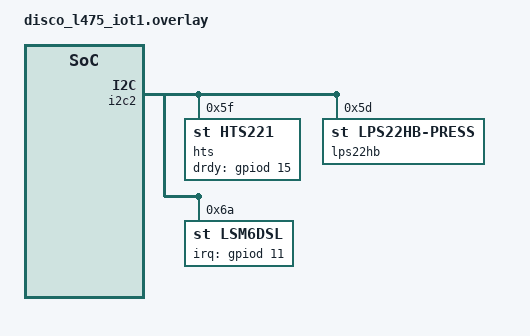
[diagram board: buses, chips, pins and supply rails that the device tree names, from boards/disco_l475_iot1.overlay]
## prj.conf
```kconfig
CONFIG_I2C=y
CONFIG_SENSOR=y
CONFIG_CBPRINTF_FP_SUPPORT=y
CONFIG_LOG=y
CONFIG_SHELL=y

CONFIG_FLASH=y
CONFIG_FLASH_MAP=y
CONFIG_FILE_SYSTEM=y
CONFIG_FILE_SYSTEM_LITTLEFS=y
CONFIG_FILE_SYSTEM_SHELL=y

CONFIG_STDOUT_CONSOLE=y
CONFIG_SENSOR=y





# Threading
CONFIG_MAIN_STACK_SIZE=2048
CONFIG_SYSTEM_WORKQUEUE_STACK_SIZE=2048
```

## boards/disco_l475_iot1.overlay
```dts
/ {
    aliases {
        ht-sensor = &hts;
        pressure-sensor = &lps22hb;
        imu-sensor = &lsm6dsl;
    };
};

&i2c2 {
    hts: hts221@5f {
        compatible = "st,hts221";
        reg = <0x5f>;
        drdy-gpios = <&gpiod 15 GPIO_ACTIVE_HIGH>;
    };

    lps22hb: lps22hb-press@5d {
        compatible = "st,lps22hb-press";
        reg = <0x5d>;
    };

    lsm6dsl: lsm6dsl@6a {
        compatible = "st,lsm6dsl";
        reg = <0x6a>;
        irq-gpios = <&gpiod 11 GPIO_ACTIVE_HIGH>;
    };
};

&flash0 {
    partitions {
        compatible = "fixed-partitions";
        #address-cells = <1>;
        #size-cells = <1>;

        firmware_partition: partition@0 {
            label = "firmware";
            reg = <0x00000000 DT_SIZE_K(896)>;
        };

        logs_fs: partition@e0000 {
            label = "logs_lfs";
            reg = <0x000E0000 DT_SIZE_K(128)>;
        };
    };
};
```

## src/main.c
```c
#include <zephyr/kernel.h>
#include <zephyr/fs/fs.h>
#include <zephyr/fs/littlefs.h>
#include <zephyr/storage/flash_map.h>
#include <zephyr/logging/log.h>
#include <zephyr/device.h>
#include <zephyr/drivers/sensor.h>
#include <string.h>
#include <zephyr/shell/shell.h>

#include "sensors_common.h"
#include "hum_temp_sensor.h"
#include "pressure_sensor.h"
#include "imu_sensor.h"

/* -------- Logging -------- */
LOG_MODULE_REGISTER(app, LOG_LEVEL_INF);

/* Mount point & partition */
static int littlefs_mount(void);
static int log_open(void);
static int log_write_snapshot(const struct all_sensors_data *d);

/* Avoid symbol clash with littlefs function lfs_mount() */
static struct fs_mount_t lfs_mnt;

/* LittleFS backing storage descriptor */
static struct fs_file_t log_file;

#define LOG_MOUNT_POINT   "/lfs"
#define LOG_FILE_PATH     LOG_MOUNT_POINT "/sensor_log.bin"

/* Circular logging parameters */
#define LOG_HEADER_MAGIC  0x53454E31u /* 'SEN1' */
struct log_header {
    uint32_t magic;
    uint32_t write_off; /* offset within payload area (not counting header) */
};

/* Upper bound for file payload; keep conservative inside 128KB partition */
#define LOG_PAYLOAD_MAX   (64 * 1024) /* 64KB for payload */
#define LOG_HEADER_SIZE   (sizeof(struct log_header))

/* -------- IPC: message queue -------- */
K_MSGQ_DEFINE(sensor_q, sizeof(struct all_sensors_data), 32, 4);

/* Shared latest snapshot guarded by mutex */
static struct all_sensors_data g_last;
static struct k_mutex g_last_lock;

/* -------- Threads & stacks -------- */
#define STACK_SZ 2048
K_THREAD_STACK_DEFINE(ht_stack,    STACK_SZ);
K_THREAD_STACK_DEFINE(press_stack, STACK_SZ);
K_THREAD_STACK_DEFINE(imu_stack,   STACK_SZ);
K_THREAD_STACK_DEFINE(log_stack,   STACK_SZ);

static struct k_thread ht_thread_data;
static struct k_thread press_thread_data;
static struct k_thread imu_thread_data;
static struct k_thread log_thread_data;

/* -------- Sensor producer threads -------- */
static void ht_thread(void *, void *, void *)
{
    (void)hum_temp_sensor_init();
    while (1) {
        int16_t t=0, h=0;
        if (hum_temp_sensor_fetch(&t, &h) == 0) {
            struct all_sensors_data snap;

            k_mutex_lock(&g_last_lock, K_FOREVER);
            /* start from last, update our fields */
            snap = g_last;
            snap.ht.temperature = t;
            snap.ht.humidity    = h;
            g_last = snap;
            k_mutex_unlock(&g_last_lock);

            /* try to queue; if full, drop oldest then put */
            if (k_msgq_put(&sensor_q, &snap, K_NO_WAIT) != 0) {
                struct all_sensors_data trash;
                k_msgq_get(&sensor_q, &trash, K_NO_WAIT);
                k_msgq_put(&sensor_q, &snap, K_NO_WAIT);
            }

            /* minimal UART prints (constant strings only) */
            printk("HT T=");
            printk("%d", (int)snap.ht.temperature);
            printk(" H=");
            printk("%d\n", (int)snap.ht.humidity);
        }
        k_sleep(K_MSEC(500));
    }
}

static void press_thread(void *, void *, void *)
{
    (void)pressure_sensor_init();
    while (1) {
        int32_t p=0;
        if (pressure_sensor_fetch(&p) == 0) {
            struct all_sensors_data snap;

            k_mutex_lock(&g_last_lock, K_FOREVER);
            snap = g_last;
            snap.press.pressure = p;
            g_last = snap;
            k_mutex_unlock(&g_last_lock);

            if (k_msgq_put(&sensor_q, &snap, K_NO_WAIT) != 0) {
                struct all_sensors_data trash;
                k_msgq_get(&sensor_q, &trash, K_NO_WAIT);
                k_msgq_put(&sensor_q, &snap, K_NO_WAIT);
            }

            printk("P ");
            printk("%d\n", (int)snap.press.pressure);
        }
        k_sleep(K_MSEC(500));
    }
}

static void imu_thread(void *, void *, void *)
{
    (void)imu_sensor_init();
    while (1) {
        int16_t ax=0, ay=0, az=0, gx=0, gy=0, gz=0;
        if (imu_sensor_fetch(&ax, &ay, &az, &gx, &gy, &gz) == 0) {
            struct all_sensors_data snap;

            k_mutex_lock(&g_last_lock, K_FOREVER);
            snap = g_last;
            snap.imu.accel.x = ax;
            snap.imu.accel.y = ay;
            snap.imu.accel.z = az;
            snap.imu.gyro.x  = gx;
            snap.imu.gyro.y  = gy;
            snap.imu.gyro.z  = gz;
            g_last = snap;
            k_mutex_unlock(&g_last_lock);

            if (k_msgq_put(&sensor_q, &snap, K_NO_WAIT) != 0) {
                struct all_sensors_data trash;
                k_msgq_get(&sensor_q, &trash, K_NO_WAIT);
                k_msgq_put(&sensor_q, &snap, K_NO_WAIT);
            }

            printk("IMU A:");
            printk("%d", (int)snap.imu.accel.x); printk(",");
            printk("%d", (int)snap.imu.accel.y); printk(",");
            printk("%d", (int)snap.imu.accel.z); printk(" G:");
            printk("%d", (int)snap.imu.gyro.x);  printk(",");
            printk("%d", (int)snap.imu.gyro.y);  printk(",");
            printk("%d\n", (int)snap.imu.gyro.z);
        }
        k_sleep(K_MSEC(500));
    }
}

/* -------- Logger consumer thread -------- */
static void log_thread(void *, void *, void *)
{
    if (littlefs_mount() != 0) {
        LOG_ERR("FS mount failed");
        return;
    }
    if (log_open() != 0) {
        LOG_ERR("Open log failed");
        return;
    }

    while (1) {
        struct all_sensors_data d;
        if (k_msgq_get(&sensor_q, &d, K_FOREVER) == 0) {
            int rc = log_write_snapshot(&d);
            if (rc) {
                LOG_ERR("log write err %d", rc);
                /* backoff a bit on error */
                k_sleep(K_MSEC(1000));
            }
        }
    }
}

/* -------- LittleFS helpers -------- */
static int littlefs_mount(void)
{
    /* Storage device: use the fixed partition from DTS */
    static struct fs_littlefs lfs_data;

    lfs_mnt.type = FS_LITTLEFS;
    lfs_mnt.fs_data = &lfs_data;
    lfs_mnt.storage_dev = (void *)FIXED_PARTITION_ID(logs_fs);
    lfs_mnt.mnt_point = LOG_MOUNT_POINT;

    int rc = fs_mount(&lfs_mnt);
    if (rc == 0) {
        LOG_INF("Mounted at %s", LOG_MOUNT_POINT);
    }
    return rc;
}

static int read_header(struct log_header *hdr)
{
    int rc = fs_seek(&log_file, 0, FS_SEEK_SET);
    if (rc) return rc;

    ssize_t r = fs_read(&log_file, hdr, sizeof(*hdr));
    if (r < 0) return (int)r;
    if (r != sizeof(*hdr)) return -EIO;

    if (hdr->magic != LOG_HEADER_MAGIC) return -EINVAL;
    if (hdr->write_off >= LOG_PAYLOAD_MAX) return -EINVAL;
    return 0;
}

static int write_header(const struct log_header *hdr)
{
    int rc = fs_seek(&log_file, 0, FS_SEEK_SET);
    if (rc) return rc;
    ssize_t w = fs_write(&log_file, hdr, sizeof(*hdr));
    return (w == sizeof(*hdr)) ? 0 : -EIO;
}

static int log_open(void)
{
    fs_file_t_init(&log_file);
    int rc = fs_open(&log_file, LOG_FILE_PATH, FS_O_CREATE | FS_O_RDWR);
    if (rc) return rc;

    struct log_header hdr;
    rc = read_header(&hdr);
    if (rc) {
        /* initialize */
        hdr.magic = LOG_HEADER_MAGIC;
        hdr.write_off = 0;

        /* Preallocate payload area with 0xFF */
        rc = fs_seek(&log_file, LOG_HEADER_SIZE, FS_SEEK_SET);
        if (rc) return rc;

        uint8_t buf[64];
        memset(buf, 0xFF, sizeof(buf));
        size_t total = 0;
        while (total < LOG_PAYLOAD_MAX) {
            size_t chunk = MIN(sizeof(buf), LOG_PAYLOAD_MAX - total);
            ssize_t w = fs_write(&log_file, buf, chunk);
            if (w != chunk) return -EIO;
            total += w;
        }

        /* write header at start */
        rc = write_header(&hdr);
        if (rc) return rc;
    }
    return 0;
}


static int log_write_snapshot(const struct all_sensors_data *d)
{
    struct log_header hdr;
    int rc = read_header(&hdr);
    if (rc) return rc;

    /* Where to write: header + write_off */
    off_t pos = LOG_HEADER_SIZE + hdr.write_off;

    rc = fs_seek(&log_file, pos, FS_SEEK_SET);
    if (rc) return rc;

    ssize_t w = fs_write(&log_file, d, sizeof(*d));
    if (w != sizeof(*d)) return -EIO;

    /* advance write_off with wrap */
    uint32_t next = hdr.write_off + sizeof(*d);
    if (next + sizeof(*d) > LOG_PAYLOAD_MAX) {
        next = 0; /* wrap to start of payload */
    }
    hdr.write_off = next;

    return write_header(&hdr);
}
static int cmd_clear_logs(const struct shell *shell, size_t argc, char **argv)
{
    ARG_UNUSED(argc);
    ARG_UNUSED(argv);

    int ret = fs_unlink(LOG_FILE_PATH);
    if (ret == -ENOENT) {
        shell_print(shell, "No log file to delete.");
    } else if (ret) {
        shell_error(shell, "Failed to delete log file (%d)", ret);
        return ret;
    } else {
        shell_print(shell, "Log file deleted.");
    }
    return 0;
}

SHELL_CMD_REGISTER(clear_logs, NULL, "Delete sensor_log.bin file", cmd_clear_logs);
/* -------- main -------- */
void main(void)
{
    k_mutex_init(&g_last_lock);
    memset(&g_last, 0, sizeof(g_last));

    /* Start producers */
    k_thread_create(&ht_thread_data, ht_stack, K_THREAD_STACK_SIZEOF(ht_stack),
                    ht_thread, NULL, NULL, NULL, 5, 0, K_NO_WAIT);

    k_thread_create(&press_thread_data, press_stack, K_THREAD_STACK_SIZEOF(press_stack),
                    press_thread, NULL, NULL, NULL, 5, 0, K_NO_WAIT);

    k_thread_create(&imu_thread_data, imu_stack, K_THREAD_STACK_SIZEOF(imu_stack),
                    imu_thread, NULL, NULL, NULL, 5, 0, K_NO_WAIT);

    /* Start logger */
    k_thread_create(&log_thread_data, log_stack, K_THREAD_STACK_SIZEOF(log_stack),
                    log_thread, NULL, NULL, NULL, 6, 0, K_NO_WAIT);
}
```

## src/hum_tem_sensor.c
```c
#include "hum_temp_sensor.h"
#include <zephyr/device.h>
#include <zephyr/devicetree.h>
#include <zephyr/drivers/sensor.h>

/* alias in overlay: ht-sensor */
#define HT_NODE DT_ALIAS(ht_sensor)
#if !DT_NODE_HAS_STATUS(HT_NODE, okay)
#error "HTS221 not enabled in devicetree"
#endif

static const struct device *ht_dev;

int hum_temp_sensor_init(void)
{
    ht_dev = DEVICE_DT_GET(HT_NODE);
    return device_is_ready(ht_dev) ? 0 : -ENODEV;
}

int hum_temp_sensor_fetch(int16_t *temp, int16_t *hum)
{
    if (!ht_dev) return -ENODEV;

    int rc = sensor_sample_fetch(ht_dev);
    if (rc) return rc;

    struct sensor_value t, h;
    rc = sensor_channel_get(ht_dev, SENSOR_CHAN_AMBIENT_TEMP, &t);
    if (rc) return rc;
    rc = sensor_channel_get(ht_dev, SENSOR_CHAN_HUMIDITY, &h);
    if (rc) return rc;

    /* Convert to fixed-point small ints: 0.01 units */
    /* sensor_value: val1 integer, val2 micro */
    int32_t t_centi = (int32_t)t.val1 * 100 + t.val2 / 10000; /* micro to centi */
    int32_t h_centi = (int32_t)h.val1 * 100 + h.val2 / 10000;

    if (temp) *temp = (int16_t)t_centi;
    if (hum)  *hum  = (int16_t)h_centi;

    return 0;
}
```

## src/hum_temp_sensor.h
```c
#ifndef HUM_TEMP_SENSOR_H
#define HUM_TEMP_SENSOR_H

#include <stdint.h>

int hum_temp_sensor_init(void);
/* returns 0 on success; temp in 0.01°C, hum in 0.01%RH */
int hum_temp_sensor_fetch(int16_t *temp, int16_t *hum);

#endif
```

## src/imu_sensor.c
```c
#include "imu_sensor.h"
#include <zephyr/device.h>
#include <zephyr/devicetree.h>
#include <zephyr/drivers/sensor.h>

/* alias in overlay: imu-sensor */
#define IMU_NODE DT_ALIAS(imu_sensor)
#if !DT_NODE_HAS_STATUS(IMU_NODE, okay)
#error "LSM6DSL not enabled in devicetree"
#endif

static const struct device *imu_dev;

int imu_sensor_init(void)
{
    imu_dev = DEVICE_DT_GET(IMU_NODE);
    return device_is_ready(imu_dev) ? 0 : -ENODEV;
}

int imu_sensor_fetch(int16_t *ax, int16_t *ay, int16_t *az,
                     int16_t *gx, int16_t *gy, int16_t *gz)
{
    if (!imu_dev) return -ENODEV;

    int rc = sensor_sample_fetch(imu_dev);
    if (rc) return rc;

    struct sensor_value av[3], gv[3];

    rc = sensor_channel_get(imu_dev, SENSOR_CHAN_ACCEL_XYZ, av);
    if (rc) return rc;
    rc = sensor_channel_get(imu_dev, SENSOR_CHAN_GYRO_XYZ, gv);
    if (rc) return rc;

    /* Convert to small fixed ints: e.g., mg and mdps */
    /* sensor_value is SI units; we choose centi-units for accel (m/s^2*100) and
       mdps for gyro: deg/s * 1000 (approx via micro). Adjust as needed. */

    if (ax) *ax = (int16_t)(av[0].val1 * 100 + av[0].val2 / 10000);
    if (ay) *ay = (int16_t)(av[1].val1 * 100 + av[1].val2 / 10000);
    if (az) *az = (int16_t)(av[2].val1 * 100 + av[2].val2 / 10000);

    if (gx) *gx = (int16_t)(gv[0].val1 * 100 + gv[0].val2 / 10000);
    if (gy) *gy = (int16_t)(gv[1].val1 * 100 + gv[1].val2 / 10000);
    if (gz) *gz = (int16_t)(gv[2].val1 * 100 + gv[2].val2 / 10000);

    return 0;
}
```

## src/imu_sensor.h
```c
#ifndef IMU_SENSOR_H
#define IMU_SENSOR_H

#include <stdint.h>

int imu_sensor_init(void);
/* returns 0 on success; raw milli-units (e.g., mg, mdps) or scaled small ints */
int imu_sensor_fetch(int16_t *ax, int16_t *ay, int16_t *az,
                     int16_t *gx, int16_t *gy, int16_t *gz);

#endif
```

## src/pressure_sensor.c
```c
#include "pressure_sensor.h"
#include <zephyr/device.h>
#include <zephyr/devicetree.h>
#include <zephyr/drivers/sensor.h>

/* alias in overlay: pressure-sensor */
#define PRESS_NODE DT_ALIAS(pressure_sensor)
#if !DT_NODE_HAS_STATUS(PRESS_NODE, okay)
#error "LPS22HB not enabled in devicetree"
#endif

static const struct device *press_dev;

int pressure_sensor_init(void)
{
    press_dev = DEVICE_DT_GET(PRESS_NODE);
    return device_is_ready(press_dev) ? 0 : -ENODEV;
}

int pressure_sensor_fetch(int32_t *press)
{
    if (!press_dev) return -ENODEV;

    int rc = sensor_sample_fetch(press_dev);
    if (rc) return rc;

    struct sensor_value p;
    rc = sensor_channel_get(press_dev, SENSOR_CHAN_PRESS, &p);
    if (rc) return rc;

    /* Pa: val1 in kPa? No—Zephyr uses SI units.
       SENSOR_CHAN_PRESS is in kPa in many drivers; convert to Pa carefully.
       Commonly: p.val1 = kPa integer, p.val2 = kPa micro.
       Convert to Pa: (val1*1000 + val2/1000) */
    int64_t pa = (int64_t)p.val1 * 1000 + p.val2 / 1000;
    if (press) *press = (int32_t)pa;
    return 0;
}
```

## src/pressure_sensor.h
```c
#ifndef PRESSURE_SENSOR_H
#define PRESSURE_SENSOR_H

#include <stdint.h>

int pressure_sensor_init(void);
/* returns 0 on success; press in Pa */
int pressure_sensor_fetch(int32_t *press);

#endif
```

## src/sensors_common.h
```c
#ifndef SENSORS_COMMON_H
#define SENSORS_COMMON_H

#include <stdint.h>

/* Master struct that holds everything (your layout) */
struct all_sensors_data {
    /* HTS221 */
    struct {
        int16_t temperature;  /* e.g. degC * 100 */
        int16_t humidity;     /* e.g. %RH * 100 */
    } ht;

    /* LPS22HB */
    struct {
        int32_t pressure;     /* e.g. Pa */
    } press;

    /* LSM6DSL (IMU) */
    struct {
        struct {
            int16_t x;
            int16_t y;
            int16_t z;
        } accel;

        struct {
            int16_t x;
            int16_t y;
            int16_t z;
        } gyro;
    } imu;
};

#endif /* SENSORS_COMMON_H */
```
